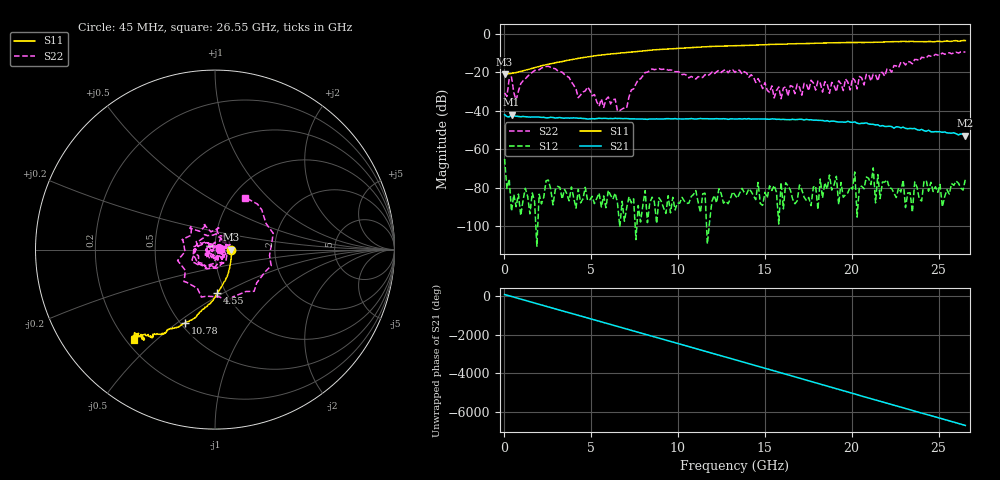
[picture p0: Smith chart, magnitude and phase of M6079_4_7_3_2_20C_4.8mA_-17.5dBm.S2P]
!  2-Port S-parameters saved by WinCal
! VAR MeasName=S-Parameters (CALIBRATED_DATA) read from VNA (C)
! VAR MeasDate=10/5/2015 4:55:31 PM
! VAR NAME=M6079_4_7_3_2_20C_4.8mA_-17.5dBm
! VAR FILENAME=M6079_4_7_3_2_20C_4.8mA_-17.5dBm.S2P
! VAR DATE=10/5/2015 4:55:31 PM
! VAR PHYS_PORTS=2,1
! VAR ObjTypeName=DATASET
! VAR IndexType=Frequency
# Hz S DB R 50
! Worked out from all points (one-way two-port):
!   201 points, 45 MHz to 26.55 GHz, reference 50 ohm
!   highest |S21| = -41.98 dB at 442.5 MHz (marker M1); lowest = -52.9 dB at 26.55 GHz (marker M2)
!   lowest |S11| = -21.0 dB at 45 MHz (marker M3), VSWR 1.20, Z = 59.8 - j0.1 ohm
!   |S11| at or under -10 dB: start of sweep to 6.614 GHz
!   |S22| runs from -40.1 to -9.2 dB; largest |S21 - S12| = 0.0079
!   S11 on the Smith chart (normalised r, x): 45 MHz: 1.20, -0.00; 4.55 GHz: 0.91, -0.47; 10.78 GHz: 0.53, -0.53; 26.55 GHz: 0.23, -0.43
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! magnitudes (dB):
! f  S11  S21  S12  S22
! 45 MHz  -21.0  -42.0  -65.0  -30.7
! 177.5 MHz  -20.8  -43.0  -80.5  -32.5
! 442.5 MHz  -20.5  -42.0  -92.3  -22.4
! 707.5 MHz  -20.1  -42.8  -90.0  -34.5
! 2.43 GHz  -16.0  -43.7  -76.4  -16.9
! 4.55 GHz  -12.3  -44.0  -85.9  -30.2
! 6.67 GHz  -9.9  -44.0  -100.4  -39.9
! 8.922 GHz  -8.1  -44.3  -85.3  -18.0
! 10.78 GHz  -7.1  -44.0  -84.6  -22.1
! 13.29 GHz  -6.1  -44.2  -83.8  -20.0
! 15.55 GHz  -5.4  -44.3  -78.8  -33.3
! 17.8 GHz  -4.9  -44.8  -79.7  -25.4
! 18.73 GHz  -4.6  -45.6  -73.4  -30.9
! 20.05 GHz  -4.4  -46.0  -80.9  -22.9
! 20.18 GHz  -4.4  -45.8  -71.8  -24.1
! 20.32 GHz  -4.4  -46.4  -95.3  -28.6
! 20.71 GHz  -4.4  -46.5  -80.6  -26.5
! 21.25 GHz  -4.4  -47.0  -69.7  -20.9
! 21.38 GHz  -4.2  -47.4  -88.0  -21.2
! 21.51 GHz  -4.3  -47.2  -73.2  -24.5
! 22.17 GHz  -4.1  -48.0  -80.2  -18.3
! 26.55 GHz  -3.4  -52.9  -75.5  -9.5
